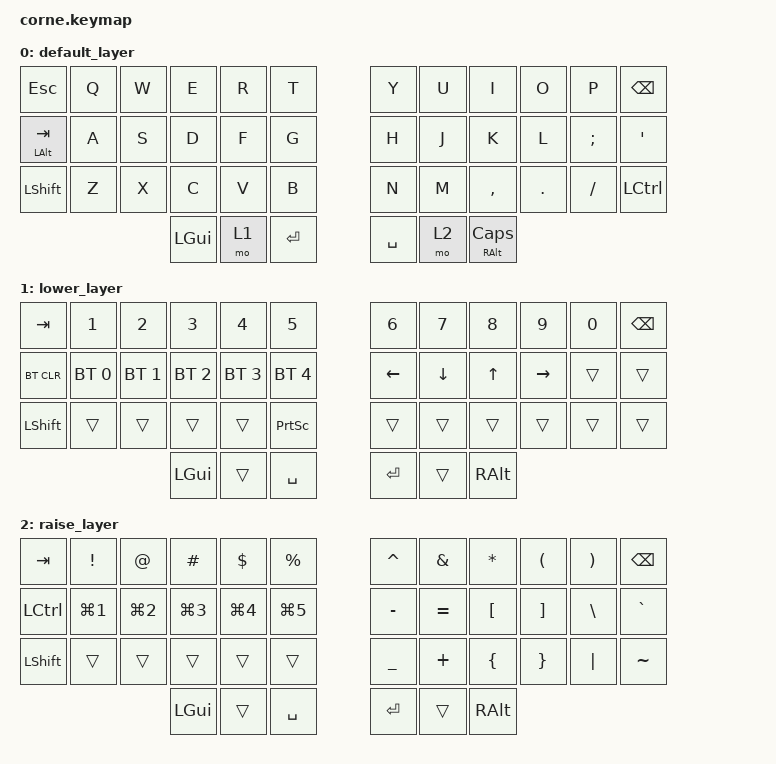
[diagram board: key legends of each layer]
/*
 * Copyright (c) 2020 The ZMK Contributors
 *
 * SPDX-License-Identifier: MIT
 */

#include <behaviors.dtsi>
#include <dt-bindings/zmk/keys.h>
#include <dt-bindings/zmk/bt.h>

/ {
        keymap {
                compatible = "zmk,keymap";

                default_layer {
// -----------------------------------------------------------------------------------------
// | ESC |  Q  |  W  |  E  |  R  |  T  |   |  Y  |  U   |  I  |  O  |  P  | BSPC |
// | TAB/ALT |  A  |  S  |  D  |  F  |  G  |   |  H  |  J   |  K  |  L  |  ;  |  '   |
// | SHFT |  Z  |  X  |  C  |  V  |  B  |   |  N  |  M   |  ,  |  .  |  /  | LCTRL  |
//                    | GUI | LWR | ENT |   | SPC | RSE  | CAPS/ALT |
                        bindings = <
   &kp ESC   &kp Q &kp W &kp E &kp R &kp T   &kp Y &kp U  &kp I     &kp O   &kp P    &kp BSPC
   &mt LALT TAB &kp A &kp S &kp D &kp F &kp G   &kp H &kp J  &kp K     &kp L   &kp SEMI &kp SQT
   &kp LSHFT &kp Z &kp X &kp C &kp V &kp B   &kp N &kp M  &kp COMMA &kp DOT &kp FSLH &kp LCTRL
                  &kp LGUI &mo 1 &kp RET   &kp SPACE &mo 2 &mt RALT CAPS
                        >;
                };
                lower_layer {
// -----------------------------------------------------------------------------------------
// |  TAB |  1  |  2  |  3  |  4  |  5  |   |  6  |  7  |  8  |  9  |  0  | BSPC |
// | BTCLR| BT1 | BT2 | BT3 | BT4 | BT5 |   | LFT | DWN |  UP | RGT |     |      |
// | SHFT |     |     |     |     | PS  |   |     |     |     |     |     |      |
//                    | GUI |     | SPC |   | ENT |     | ALT |
                        bindings = <
   &kp TAB    &kp N1       &kp N2       &kp N3       &kp N4       &kp N5         &kp N6   &kp N7   &kp N8 &kp N9    &kp N0 &kp BSPC
   &bt BT_CLR &bt BT_SEL 0 &bt BT_SEL 1 &bt BT_SEL 2 &bt BT_SEL 3 &bt BT_SEL 4   &kp LEFT &kp DOWN &kp UP &kp RIGHT &trans &trans
   &kp LSHFT  &trans       &trans       &trans       &trans       &kp PSCRN         &trans   &trans   &trans &trans    &trans &trans
                                    &kp LGUI     &trans       &kp SPACE      &kp RET  &trans   &kp RALT
                        >;
                };

                raise_layer {
// -----------------------------------------------------------------------------------------
// |  TAB |  !  |  @  |  #  |  $  |  %  |   |  ^  |  &  |  *  |  (  |  )  | BSPC |
// | CTRL |     |     |     |     |     |   |  -  |  =  |  [  |  ]  |  \  |  `   |
// | SHFT |     |     |     |     |     |   |  _  |  +  |  {  |  }  | "|" |  ~   |
//                    | GUI |     | SPC |   | ENT |     | ALT |
                        bindings = <
   &kp  TAB  &kp EXCL &kp AT &kp HASH &kp DLLR &kp PRCNT   &kp CARET &kp AMPS  &kp ASTRK &kp LPAR &kp RPAR &kp BSPC
   &kp LCTRL &kp LG(N1)   &kp LG(N2) &kp LG(N3)   &kp LG(N4)   &kp LG(N5)      &kp MINUS &kp EQUAL &kp LBKT  &kp RBKT &kp BSLH &kp GRAVE
   &kp LSHFT &trans   &trans &trans   &trans   &trans      &kp UNDER &kp PLUS  &kp LBRC  &kp RBRC &kp PIPE &kp TILDE
                             &kp LGUI &trans   &kp SPACE   &kp RET   &trans    &kp RALT
                        >;
                };
        };
};
